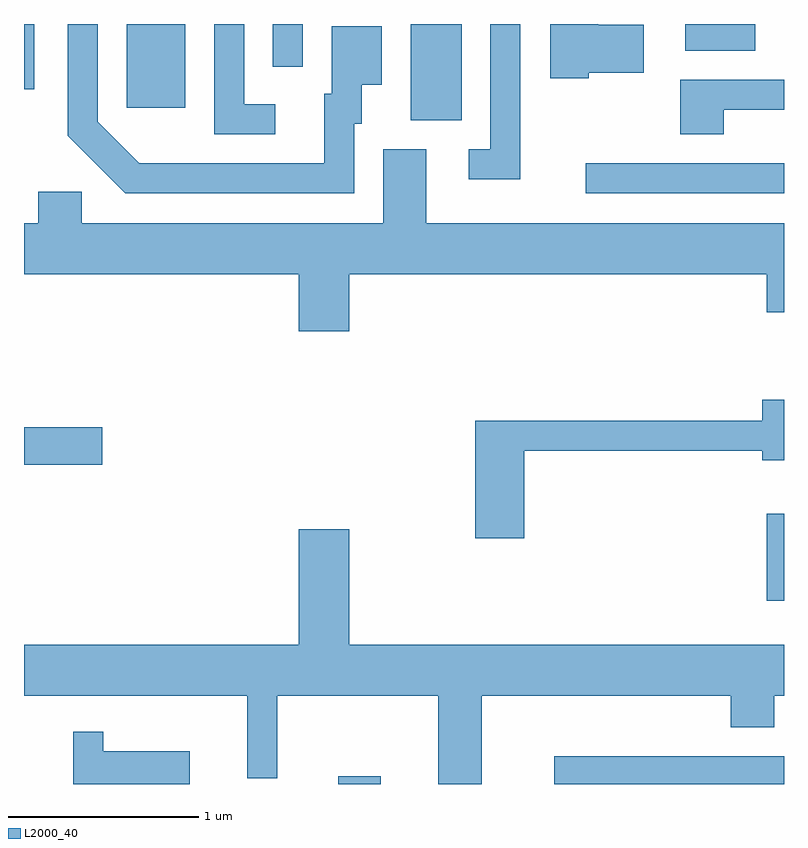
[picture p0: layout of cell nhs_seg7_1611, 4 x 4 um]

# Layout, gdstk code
import gdstk
lib = gdstk.Library(unit=1e-6, precision=1e-09)
def R(c, l, rs):  # rectangles x0, y0, x1, y1
    for r in rs: c.add(gdstk.rectangle(r[:2], r[2:], *l))
def P(c, l, *ps):  # polygons
    for p in ps: c.add(gdstk.Polygon(p, *l))
L2000_40 = (2000, 40)

nhs_seg7_1611 = lib.new_cell('nhs_seg7_1611')
R(nhs_seg7_1611, L2000_40, [(235.266,1758.252,235.489,1758.294), (236.401,1758.252,237.611,1758.399), (237.521,1759.216,237.611,1759.674), (233.611,1759.931,234.024,1760.129), (236.568,1761.361,237.611,1761.519), (235.646,1761.746,235.914,1762.252), (234.151,1761.811,234.459,1762.252), (233.611,1761.908,233.664,1762.252), (234.921,1762.028,235.079,1762.252), (237.091,1762.111,237.459,1762.252)])
P(nhs_seg7_1611, L2000_40, [(236.224,1762.252),(236.066,1762.252),(236.066,1761.594),(235.953,1761.594),(235.953,1761.436),(236.224,1761.436)],
  [(235.349,1761.726),(235.389,1761.726),(235.389,1761.931),(235.494,1761.931),(235.494,1762.239),(235.231,1762.239),(235.231,1761.884),(235.191,1761.884),(235.191,1761.519),(234.217,1761.519),(233.999,1761.737),(233.999,1762.252),(233.841,1762.252),(233.841,1761.664),(234.144,1761.361),(235.349,1761.361)],
  [(236.584,1761.996),(236.874,1761.996),(236.874,1762.249),(236.634,1762.249),(236.634,1762.252),(236.381,1762.252),(236.381,1761.966),(236.584,1761.966)],
  [(234.933,1761.829),(234.769,1761.829),(234.769,1762.252),(234.611,1762.252),(234.611,1761.671),(234.933,1761.671)],
  [(237.294,1761.801),(237.611,1761.801),(237.611,1761.959),(237.066,1761.959),(237.066,1761.671),(237.294,1761.671)],
  [(235.324,1760.936),(237.521,1760.936),(237.521,1760.736),(237.611,1760.736),(237.611,1761.204),(235.729,1761.204),(235.729,1761.594),(235.501,1761.594),(235.501,1761.204),(233.914,1761.204),(233.914,1761.369),(233.686,1761.369),(233.686,1761.204),(233.611,1761.204),(233.611,1760.936),(235.056,1760.936),(235.056,1760.636),(235.324,1760.636)],
  [(236.244,1760.006),(237.496,1760.006),(237.496,1759.956),(237.611,1759.956),(237.611,1760.274),(237.496,1760.274),(237.496,1760.164),(235.986,1760.164),(235.986,1759.546),(236.244,1759.546)],
  [(236.019,1758.716),(237.331,1758.716),(237.331,1758.551),(237.559,1758.551),(237.559,1758.716),(237.611,1758.716),(237.611,1758.984),(235.324,1758.984),(235.324,1759.594),(235.056,1759.594),(235.056,1758.984),(233.611,1758.984),(233.611,1758.716),(234.786,1758.716),(234.786,1758.283),(234.944,1758.283),(234.944,1758.716),(235.791,1758.716),(235.791,1758.252),(236.019,1758.252)],
  [(234.484,1758.424),(234.029,1758.424),(234.029,1758.528),(233.871,1758.528),(233.871,1758.252),(234.484,1758.252)])

lib.write_gds('nhs_seg7_1611.gds')
